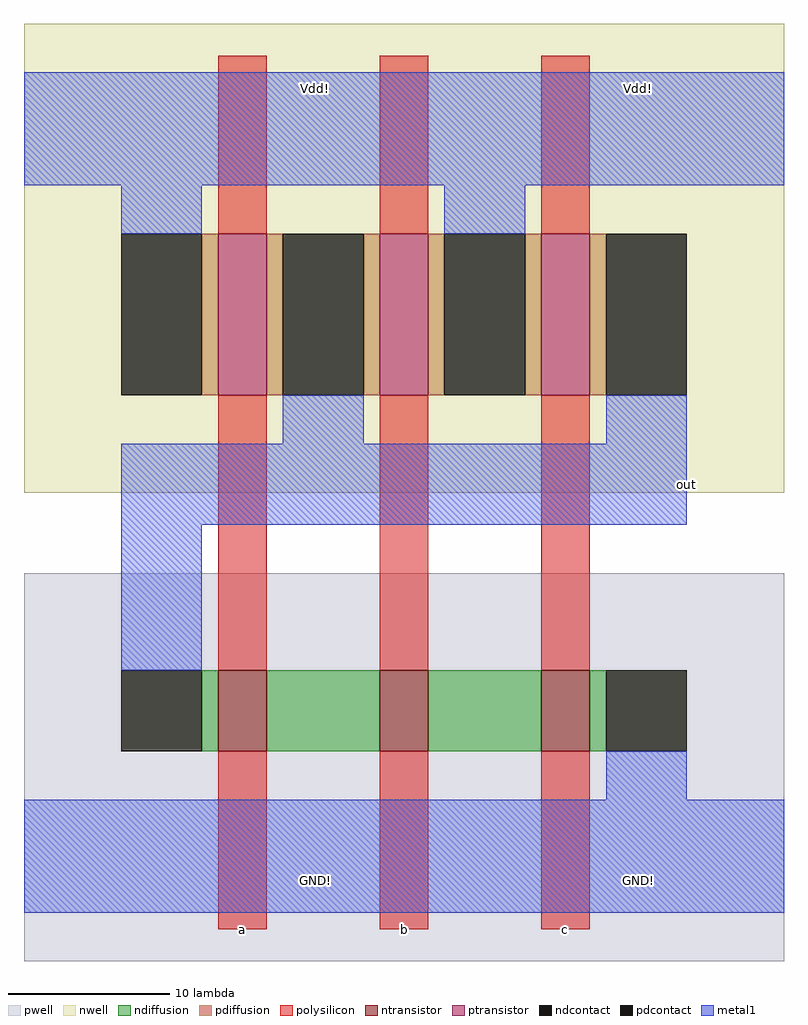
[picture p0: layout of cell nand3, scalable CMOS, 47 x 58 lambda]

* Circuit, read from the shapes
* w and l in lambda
.subckt nand3 GND! Vdd! a b c out
M1 n1 a out VSUBS nfet w=5 l=3
M2 n2 b n1 VSUBS nfet w=5 l=3
M3 GND! c n2 VSUBS nfet w=5 l=3
M4 out a Vdd! n3 pfet w=10 l=3
M5 Vdd! b out n3 pfet w=10 l=3
M6 out c Vdd! n3 pfet w=10 l=3
.ends

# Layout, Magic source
magic
tech scmos
<< nwell >>
rect -75 0 -28 29
<< pwell >>
rect -75 -29 -28 -5
<< ntransistor >>
rect -63 -16 -60 -11
rect -53 -16 -50 -11
rect -43 -16 -40 -11
<< ptransistor >>
rect -63 6 -60 16
rect -53 6 -50 16
rect -43 6 -40 16
<< ndiffusion >>
rect -64 -16 -63 -11
rect -60 -16 -53 -11
rect -50 -16 -43 -11
rect -40 -16 -39 -11
<< pdiffusion >>
rect -64 6 -63 16
rect -60 6 -59 16
rect -54 6 -53 16
rect -50 6 -49 16
rect -44 6 -43 16
rect -40 6 -39 16
<< ndcontact >>
rect -69 -16 -64 -11
rect -39 -16 -34 -11
<< pdcontact >>
rect -69 6 -64 16
rect -59 6 -54 16
rect -49 6 -44 16
rect -39 6 -34 16
<< polysilicon >>
rect -63 16 -60 27
rect -53 16 -50 27
rect -43 16 -40 27
rect -63 -11 -60 6
rect -53 -11 -50 6
rect -43 -11 -40 6
rect -63 -27 -60 -16
rect -53 -27 -50 -16
rect -43 -27 -40 -16
<< metal1 >>
rect -75 19 -28 26
rect -69 16 -64 19
rect -49 16 -44 19
rect -59 3 -54 6
rect -39 3 -34 6
rect -69 -2 -34 3
rect -69 -11 -64 -2
rect -39 -19 -34 -16
rect -75 -26 -28 -19
<< labels >>
rlabel metal1 -37 -24 -37 -24 1 GND!
rlabel metal1 -57 -24 -57 -24 1 GND!
rlabel metal1 -57 25 -57 25 5 Vdd!
rlabel metal1 -37 25 -37 25 5 Vdd!
rlabel polysilicon -63 -27 -60 -27 1 a
rlabel polysilicon -53 -27 -50 -27 1 b
rlabel polysilicon -43 -27 -40 -27 1 c
rlabel metal1 -34 -2 -34 3 1 out
<< end >>
